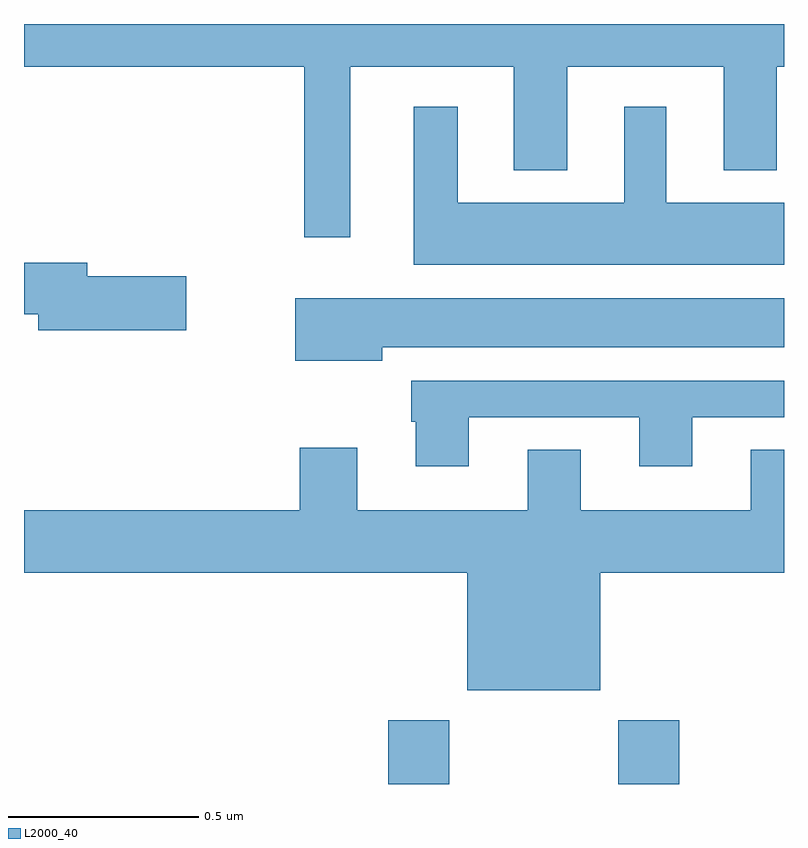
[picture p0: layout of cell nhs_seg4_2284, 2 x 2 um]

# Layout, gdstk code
import gdstk
lib = gdstk.Library(unit=1e-6, precision=1e-09)
def R(c, l, rs):  # rectangles x0, y0, x1, y1
    for r in rs: c.add(gdstk.rectangle(r[:2], r[2:], *l))
def P(c, l, *ps):  # polygons
    for p in ps: c.add(gdstk.Polygon(p, *l))
L2000_40 = (2000, 40)

nhs_seg4_2284 = lib.new_cell('nhs_seg4_2284')
R(nhs_seg4_2284, L2000_40, [(138.959,826.9,139.119,827.068), (139.564,826.9,139.724,827.068)])
P(nhs_seg4_2284, L2000_40, [(138.859,828.788),(139.289,828.788),(139.289,828.515),(139.429,828.515),(139.429,828.788),(139.841,828.788),(139.841,828.515),(139.981,828.515),(139.981,828.788),(140,828.788),(140,828.9),(138,828.9),(138,828.788),(138.738,828.788),(138.738,828.339),(138.859,828.339)],
  [(140,828.43),(139.69,828.43),(139.69,828.682),(139.58,828.682),(139.58,828.43),(139.141,828.43),(139.141,828.682),(139.025,828.682),(139.025,828.266),(140,828.266)],
  [(138.427,828.236),(138.166,828.236),(138.166,828.272),(138,828.272),(138,828.136),(138.038,828.136),(138.038,828.094),(138.427,828.094)],
  [(138.943,828.05),(140,828.05),(140,828.178),(138.714,828.178),(138.714,828.014),(138.943,828.014)],
  [(139.171,827.865),(139.619,827.865),(139.619,827.736),(139.759,827.736),(139.759,827.865),(140,827.865),(140,827.961),(139.019,827.961),(139.019,827.853),(139.031,827.853),(139.031,827.736),(139.171,827.736)],
  [(139.516,827.456),(140,827.456),(140,827.78),(139.913,827.78),(139.913,827.62),(139.465,827.62),(139.465,827.78),(139.325,827.78),(139.325,827.62),(138.877,827.62),(138.877,827.785),(138.725,827.785),(138.725,827.62),(138,827.62),(138,827.456),(139.166,827.456),(139.166,827.147),(139.516,827.147)])

lib.write_gds('nhs_seg4_2284.gds')
